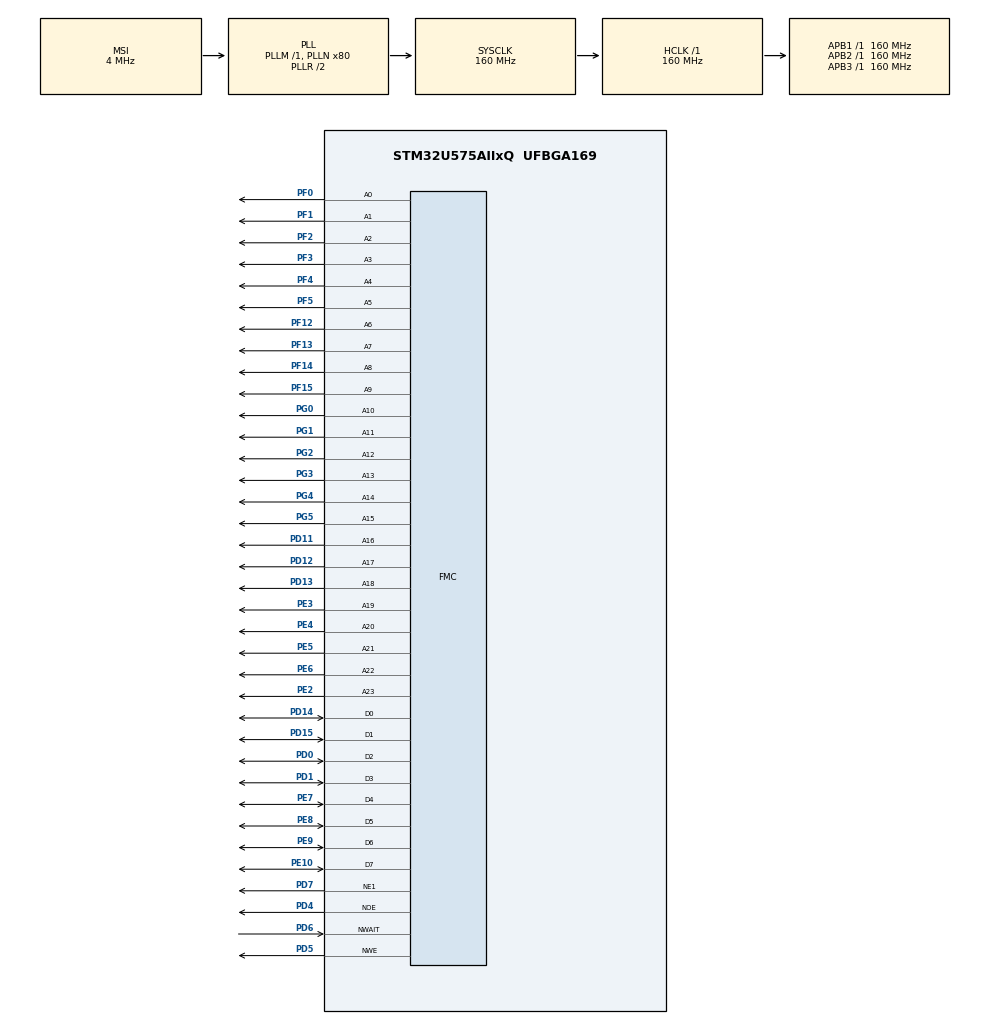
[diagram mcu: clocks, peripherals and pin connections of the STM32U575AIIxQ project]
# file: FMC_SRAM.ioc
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CORTEX_M33_NS.userName=CORTEX_M33
DCACHE1.DCACHE_Read_Burst_Type=DCACHE_READ_BURST_INCR
FMC.AddressSetupTime1=9
FMC.BusTurnAroundDuration1=2
FMC.DataSetupTime1=6
FMC.WriteFifo1=FMC_WRITE_FIFO_DISABLE
FMC.WriteOperation1=FMC_WRITE_OPERATION_ENABLE
Mcu.Family=STM32U5
Mcu.Name=STM32U575AIIxQ
Mcu.Package=UFBGA169
NVIC.PriorityGroup=NVIC_PRIORITYGROUP_4
PD0.Signal=FMC_D2_DA2
PD1.Signal=FMC_D3_DA3
PD10.Signal=FMC_D15_DA15
PD11.Signal=FMC_A16_CLE
PD12.Signal=FMC_A17_ALE
PD13.Signal=FMC_A18
PD14.Signal=FMC_D0_DA0
PD15.Signal=FMC_D1_DA1
PD3.Signal=FMC_CLK
PD4.Signal=FMC_NOE
PD5.Signal=FMC_NWE
PD6.Signal=FMC_NWAIT
PD7.Mode=NorPsramChipSelect1_1
PD7.Signal=FMC_NE1
PD8.Signal=FMC_D13_DA13
PD9.Signal=FMC_D14_DA14
PE10.Signal=FMC_D7_DA7
PE11.Signal=FMC_D8_DA8
PE12.Signal=FMC_D9_DA9
PE13.Signal=FMC_D10_DA10
PE14.Signal=FMC_D11_DA11
PE15.Signal=FMC_D12_DA12
PE2.Signal=FMC_A23
PE3.Signal=FMC_A19
PE4.Signal=FMC_A20
PE5.Signal=FMC_A21
PE6.Signal=FMC_A22
PE7.Signal=FMC_D4_DA4
PE8.Signal=FMC_D5_DA5
PE9.Signal=FMC_D6_DA6
PF0.Signal=FMC_A0
PF1.Signal=FMC_A1
PF12.Signal=FMC_A6
PF13.Signal=FMC_A7
PF14.Signal=FMC_A8
PF15.Signal=FMC_A9
PF2.Signal=FMC_A2
PF3.Signal=FMC_A3
PF4.Signal=FMC_A4
PF5.Signal=FMC_A5
PG0.Signal=FMC_A10
PG1.Signal=FMC_A11
PG2.Signal=FMC_A12
PG3.Signal=FMC_A13
PG4.Signal=FMC_A14
PG5.Signal=FMC_A15
PWR.PowerMode=PWR_SMPS_SUPPLY
ProjectManager.HeapSize=0x200
ProjectManager.StackSize=0x400
ProjectManager.TargetToolchain=EWARM V8.50
RCC.ADCFreq_Value=16000000
RCC.AHBFreq_Value=160000000
RCC.APB1Freq_Value=160000000
RCC.APB1TimFreq_Value=160000000
RCC.APB2Freq_Value=160000000
RCC.APB2TimFreq_Value=160000000
RCC.APB3Freq_Value=160000000
RCC.CortexFreq_Value=160000000
RCC.DACCLockSelectionVirtual=RCC_DAC1CLKSOURCE_LSI
RCC.DACCLockSelectionVirtualString=RCC_DAC1CLKSOURCE_LSI
RCC.EPOD_VALUE=4000000
RCC.HCLKFreq_Value=160000000
RCC.HSE_VALUE=16000000
RCC.HSI48_VALUE=48000000
RCC.HSI_VALUE=16000000
RCC.LSE_VALUE=32768
RCC.LSIDIV_VALUE=32000
RCC.MSI_VALUE=4000000
RCC.PLLN=80
RCC.SYSCLKFreq_VALUE=160000000
RCC.SYSCLKSource=RCC_SYSCLKSOURCE_PLLCLK
RCC.USBFreq_Value=48000000
RCC.VCOOutputFreq_Value=320000000
SH.FMC_A0.0=FMC_A0,24b-a1
SH.FMC_A1.0=FMC_A1,24b-a1
SH.FMC_A10.0=FMC_A10,24b-a1
SH.FMC_A11.0=FMC_A11,24b-a1
SH.FMC_A12.0=FMC_A12,24b-a1
SH.FMC_A13.0=FMC_A13,24b-a1
SH.FMC_A14.0=FMC_A14,24b-a1
SH.FMC_A15.0=FMC_A15,24b-a1
SH.FMC_A16_CLE.0=FMC_A16,24b-a1
SH.FMC_A17_ALE.0=FMC_A17,24b-a1
SH.FMC_A18.0=FMC_A18,24b-a1
SH.FMC_A19.0=FMC_A19,24b-a1
SH.FMC_A2.0=FMC_A2,24b-a1
SH.FMC_A20.0=FMC_A20,24b-a1
SH.FMC_A21.0=FMC_A21,24b-a1
SH.FMC_A22.0=FMC_A22,24b-a1
SH.FMC_A23.0=FMC_A23,24b-a1
SH.FMC_A3.0=FMC_A3,24b-a1
SH.FMC_A4.0=FMC_A4,24b-a1
SH.FMC_A5.0=FMC_A5,24b-a1
SH.FMC_A6.0=FMC_A6,24b-a1
SH.FMC_A7.0=FMC_A7,24b-a1
SH.FMC_A8.0=FMC_A8,24b-a1
SH.FMC_A9.0=FMC_A9,24b-a1
SH.FMC_CLK.0=FMC_CLK
SH.FMC_D0_DA0.0=FMC_D0,8b-d1
SH.FMC_D10_DA10.0=FMC_D10
SH.FMC_D11_DA11.0=FMC_D11
SH.FMC_D12_DA12.0=FMC_D12
SH.FMC_D13_DA13.0=FMC_D13
SH.FMC_D14_DA14.0=FMC_D14
SH.FMC_D15_DA15.0=FMC_D15
SH.FMC_D1_DA1.0=FMC_D1,8b-d1
SH.FMC_D2_DA2.0=FMC_D2,8b-d1
SH.FMC_D3_DA3.0=FMC_D3,8b-d1
SH.FMC_D4_DA4.0=FMC_D4,8b-d1
SH.FMC_D5_DA5.0=FMC_D5,8b-d1
SH.FMC_D6_DA6.0=FMC_D6,8b-d1
SH.FMC_D7_DA7.0=FMC_D7,8b-d1
SH.FMC_D8_DA8.0=FMC_D8
SH.FMC_D9_DA9.0=FMC_D9
SH.FMC_NOE.0=FMC_NOE,Sram1
SH.FMC_NWAIT.0=FMC_NWAIT,AsynchronousWait1
SH.FMC_NWE.0=FMC_NWE,Sram1
VP_DCACHE1_VS_DCACHE.Mode=DCACHE_Activate
VP_ICACHE_VS_ICACHE.Mode=DirectMappedCache
VP_LPBAMQUEUE_VS_QUEUE.Mode=QUEUEMODE
VP_LPBAM_VS_SIG1.Mode=SmartRun
VP_LPBAM_VS_SIG4.Mode=LPDMA1
VP_PWR_VS_DBSignals.Mode=DisableDeadBatterySignals
VP_PWR_VS_LPOM.Mode=PowerOptimisation
VP_PWR_VS_SECSignals.Mode=Security/Privilege
board=custom

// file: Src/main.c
/* USER CODE BEGIN Header */
/**
  ******************************************************************************
  * @file           : main.c
  * @brief          : Main program body
  ******************************************************************************
  * @attention
  *
  * Copyright (c) 2021 STMicroelectronics.
  * All rights reserved.
  *
  * This software is licensed under terms that can be found in the LICENSE file
  * in the root directory of this software component.
  * If no LICENSE file comes with this software, it is provided AS-IS.
  *
  ******************************************************************************
  */
/* USER CODE END Header */
#include "main.h"

/* USER CODE BEGIN PM */
#define BUFFER_SIZE         ((uint32_t)0x0100)
#define WRITE_READ_ADDR     ((uint32_t)0x0800)

/* Read/Write Buffers */
uint32_t aTxBuffer[BUFFER_SIZE];
uint32_t aRxBuffer[BUFFER_SIZE];

/* Status variables */
__IO uint32_t uwWriteReadStatus = 0;
/* Counter index */
uint32_t uwIndex = 0;
/* USER CODE END PM */

DCACHE_HandleTypeDef hdcache1;

SRAM_HandleTypeDef hsram1;

void SystemClock_Config(void);
static void SystemPower_Config(void);
static void MX_GPIO_Init(void);
static void MX_ICACHE_Init(void);
static void MX_DCACHE1_Init(void);
static void MX_FMC_Init(void);
/* USER CODE BEGIN PFP */
static void Fill_Buffer(uint32_t *pBuffer, uint32_t uwBufferLenght, uint16_t uwOffset);
static uint8_t Buffercmp(uint32_t *pBuffer1, uint32_t *pBuffer2, uint16_t BufferLength);
/* USER CODE END PFP */

int main(void)
{

  /* USER CODE BEGIN 1 */
  /* STM32U5xx HAL library initialization:
       - Configure the Flash prefetch
       - Configure the Systick to generate an interrupt each 1 msec
       - Set NVIC Group Priority to 3
       - Low Level Initialization
     */
  /* USER CODE END 1 */

  /* MCU Configuration--------------------------------------------------------*/

  /* Reset of all peripherals, Initializes the Flash interface and the Systick. */
  HAL_Init();

  /* USER CODE BEGIN Init */
  /* Configure LED5 and LED6*/
  BSP_LED_Init(LED5);
  BSP_LED_Init(LED6);
  /* USER CODE END Init */

  /* Configure the System Power */
  SystemPower_Config();

  /* Configure the system clock */
  SystemClock_Config();

  /* Initialize all configured peripherals */
  MX_GPIO_Init();
  MX_ICACHE_Init();
  MX_DCACHE1_Init();
  MX_FMC_Init();
  /* USER CODE BEGIN 2 */
  /*##-2- SRAM memory read/write access ######################################*/
  /* Fill the buffer to write */
  Fill_Buffer(aTxBuffer, BUFFER_SIZE, 0xC20F);
  /* Clear the buffer to read */
  Fill_Buffer(aRxBuffer, BUFFER_SIZE, 0x0000);

  /* Write data to the SRAM memory */
  HAL_SRAM_Write_16b(&hsram1, (uint32_t *)(SRAM_BANK_ADDR + WRITE_READ_ADDR), (uint16_t *)aTxBuffer, BUFFER_SIZE*2);

  /* Read back data from the SRAM memory */
  HAL_SRAM_Read_16b(&hsram1, (uint32_t *)(SRAM_BANK_ADDR + WRITE_READ_ADDR), (uint16_t *)aRxBuffer, BUFFER_SIZE*2);

  /*##-3- Checking data integrity ############################################*/
  uwWriteReadStatus = Buffercmp(aTxBuffer, aRxBuffer, BUFFER_SIZE);

  if(uwWriteReadStatus) /* KO */
  {
    /* Turn on LED6 */
    BSP_LED_On(LED6);
  }
  else /* OK */
  {
    /* Turn on LED5 */
    BSP_LED_On(LED5);
  }
  /* USER CODE END 2 */

  /* Infinite loop */
  while (1)
  {

  }
}

void SystemClock_Config(void)
{
  RCC_OscInitTypeDef RCC_OscInitStruct = {0};
  RCC_ClkInitTypeDef RCC_ClkInitStruct = {0};

  /** Configure the main internal regulator output voltage
  */
  if (HAL_PWREx_ControlVoltageScaling(PWR_REGULATOR_VOLTAGE_SCALE1) != HAL_OK)
  {
    Error_Handler();
  }

  /** Initializes the CPU, AHB and APB buses clocks
  */
  RCC_OscInitStruct.OscillatorType = RCC_OSCILLATORTYPE_MSI;
  RCC_OscInitStruct.MSIState = RCC_MSI_ON;
  RCC_OscInitStruct.MSICalibrationValue = RCC_MSICALIBRATION_DEFAULT;
  RCC_OscInitStruct.MSIClockRange = RCC_MSIRANGE_4;
  RCC_OscInitStruct.PLL.PLLState = RCC_PLL_ON;
  RCC_OscInitStruct.PLL.PLLSource = RCC_PLLSOURCE_MSI;
  RCC_OscInitStruct.PLL.PLLMBOOST = RCC_PLLMBOOST_DIV1;
  RCC_OscInitStruct.PLL.PLLM = 1;
  RCC_OscInitStruct.PLL.PLLN = 80;
  RCC_OscInitStruct.PLL.PLLP = 2;
  RCC_OscInitStruct.PLL.PLLQ = 2;
  RCC_OscInitStruct.PLL.PLLR = 2;
  RCC_OscInitStruct.PLL.PLLRGE = RCC_PLLVCIRANGE_0;
  RCC_OscInitStruct.PLL.PLLFRACN = 0;
  if (HAL_RCC_OscConfig(&RCC_OscInitStruct) != HAL_OK)
  {
    Error_Handler();
  }

  /** Initializes the CPU, AHB and APB buses clocks
  */
  RCC_ClkInitStruct.ClockType = RCC_CLOCKTYPE_HCLK|RCC_CLOCKTYPE_SYSCLK
                              |RCC_CLOCKTYPE_PCLK1|RCC_CLOCKTYPE_PCLK2
                              |RCC_CLOCKTYPE_PCLK3;
  RCC_ClkInitStruct.SYSCLKSource = RCC_SYSCLKSOURCE_PLLCLK;
  RCC_ClkInitStruct.AHBCLKDivider = RCC_SYSCLK_DIV1;
  RCC_ClkInitStruct.APB1CLKDivider = RCC_HCLK_DIV1;
  RCC_ClkInitStruct.APB2CLKDivider = RCC_HCLK_DIV1;
  RCC_ClkInitStruct.APB3CLKDivider = RCC_HCLK_DIV1;

  if (HAL_RCC_ClockConfig(&RCC_ClkInitStruct, FLASH_LATENCY_4) != HAL_OK)
  {
    Error_Handler();
  }
}

/**
  * @brief Power Configuration
  * @retval None
  */
static void SystemPower_Config(void)
{
  HAL_PWREx_EnableVddIO2();

  /*
   * Disable the internal Pull-Up in Dead Battery pins of UCPD peripheral
   */
  HAL_PWREx_DisableUCPDDeadBattery();

  /*
   * Switch to SMPS regulator instead of LDO
   */
  if (HAL_PWREx_ConfigSupply(PWR_SMPS_SUPPLY) != HAL_OK)
  {
    Error_Handler();
  }
}

static void MX_DCACHE1_Init(void)
{

  hdcache1.Instance = DCACHE1;
  hdcache1.Init.ReadBurstType = DCACHE_READ_BURST_INCR;
  if (HAL_DCACHE_Init(&hdcache1) != HAL_OK)
  {
    Error_Handler();
  }

}

static void MX_ICACHE_Init(void)
{

  /** Enable instruction cache in 1-way (direct mapped cache)
  */
  if (HAL_ICACHE_ConfigAssociativityMode(ICACHE_1WAY) != HAL_OK)
  {
    Error_Handler();
  }
  if (HAL_ICACHE_Enable() != HAL_OK)
  {
    Error_Handler();
  }

}

/* FMC initialization function */
static void MX_FMC_Init(void)
{

  FMC_NORSRAM_TimingTypeDef Timing = {0};

  /** Perform the SRAM1 memory initialization sequence
  */
  hsram1.Instance = FMC_NORSRAM_DEVICE;
  hsram1.Extended = FMC_NORSRAM_EXTENDED_DEVICE;
  /* hsram1.Init */
  hsram1.Init.NSBank = FMC_NORSRAM_BANK1;
  hsram1.Init.DataAddressMux = FMC_DATA_ADDRESS_MUX_DISABLE;
  hsram1.Init.MemoryType = FMC_MEMORY_TYPE_SRAM;
  hsram1.Init.MemoryDataWidth = FMC_NORSRAM_MEM_BUS_WIDTH_8;
  hsram1.Init.BurstAccessMode = FMC_BURST_ACCESS_MODE_DISABLE;
  hsram1.Init.WaitSignalPolarity = FMC_WAIT_SIGNAL_POLARITY_LOW;
  hsram1.Init.WaitSignalActive = FMC_WAIT_TIMING_BEFORE_WS;
  hsram1.Init.WriteOperation = FMC_WRITE_OPERATION_ENABLE;
  hsram1.Init.WaitSignal = FMC_WAIT_SIGNAL_DISABLE;
  hsram1.Init.ExtendedMode = FMC_EXTENDED_MODE_DISABLE;
  hsram1.Init.AsynchronousWait = FMC_ASYNCHRONOUS_WAIT_ENABLE;
  hsram1.Init.WriteBurst = FMC_WRITE_BURST_DISABLE;
  hsram1.Init.ContinuousClock = FMC_CONTINUOUS_CLOCK_SYNC_ONLY;
  hsram1.Init.WriteFifo = FMC_WRITE_FIFO_DISABLE;
  hsram1.Init.NBLSetupTime = 0;
  hsram1.Init.PageSize = FMC_PAGE_SIZE_NONE;
  hsram1.Init.MaxChipSelectPulse = DISABLE;
  /* Timing */
  Timing.AddressSetupTime = 9;
  Timing.AddressHoldTime = 15;
  Timing.DataSetupTime = 6;
  Timing.DataHoldTime = 0;
  Timing.BusTurnAroundDuration = 2;
  Timing.CLKDivision = 16;
  Timing.DataLatency = 17;
  Timing.AccessMode = FMC_ACCESS_MODE_A;
  /* ExtTiming */

  if (HAL_SRAM_Init(&hsram1, &Timing, NULL) != HAL_OK)
  {
    Error_Handler( );
  }

}

static void MX_GPIO_Init(void)
{

  /* GPIO Ports Clock Enable */
  __HAL_RCC_GPIOE_CLK_ENABLE();
  __HAL_RCC_GPIOD_CLK_ENABLE();
  __HAL_RCC_GPIOF_CLK_ENABLE();
  __HAL_RCC_GPIOG_CLK_ENABLE();

}

/* USER CODE BEGIN 4 */

/**
  * @brief  Fills buffer with user predefined data.
  * @param  pBuffer: pointer on the buffer to fill
  * @param  uwBufferLength: size of the buffer to fill
  * @param  uwOffset: first value to fill on the buffer
  * @retval None
  */
static void Fill_Buffer(uint32_t *pBuffer, uint32_t uwBufferLength, uint16_t uwOffset)
{
  uint16_t tmpIndex = 0;

  /* Put in global buffer different values */
  for (tmpIndex = 0; tmpIndex < uwBufferLength; tmpIndex++)
  {
    pBuffer[tmpIndex] = tmpIndex + uwOffset;
  }
}
/**
  * @brief  Compares two buffers.
  * @param  pBuffer1, pBuffer2: buffers to be compared.
  * @param  BufferLength: buffer's length
  * @retval 1: pBuffer identical to pBuffer1
  *         0: pBuffer differs from pBuffer1
  */
static uint8_t Buffercmp(uint32_t* pBuffer1, uint32_t* pBuffer2, uint16_t BufferLength)
{
  while (BufferLength--)
  {
    if (*pBuffer1 != *pBuffer2)
    {
      return 1;
    }

    pBuffer1++;
    pBuffer2++;
  }

  return 0;
}
/* USER CODE END 4 */

void Error_Handler(void)
{
  /* USER CODE BEGIN Error_Handler_Debug */
  __disable_irq();
  while (1)
  {
    BSP_LED_Toggle(LED6);
    HAL_Delay(100);
  }
  /* USER CODE END Error_Handler_Debug */
}
